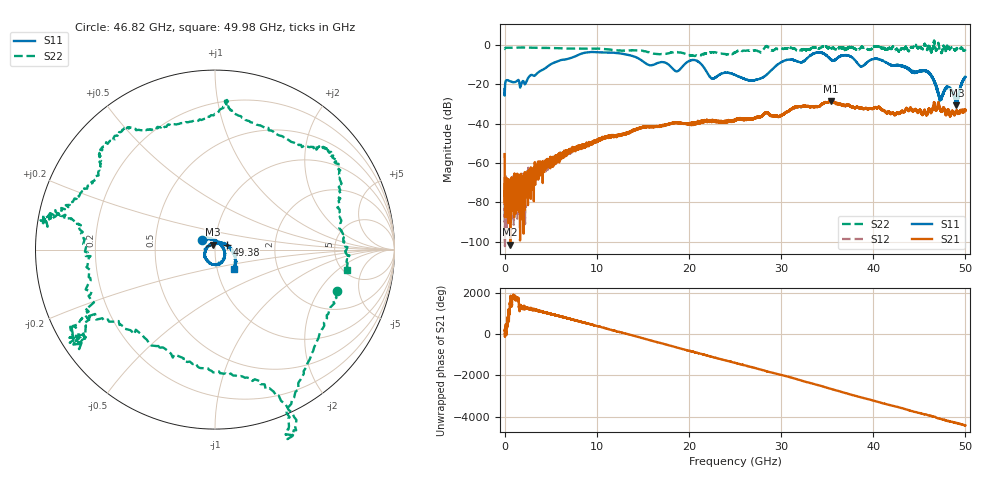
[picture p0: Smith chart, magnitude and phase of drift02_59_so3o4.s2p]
!Created with skrf (http://scikit-rf.org).
# Hz S RI R 50.0
!freq ReS11 ImS11 ReS21 ImS21 ReS12 ImS12 ReS22 ImS22
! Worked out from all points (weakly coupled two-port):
!   10001 points, 300 kHz to 50 GHz, reference 50 ohm
!   highest |S21| = -28.49 dB at 35.38 GHz (marker M1); lowest = -101.5 dB at 615.3 MHz (marker M2)
!   lowest |S11| = -30.7 dB at 49.02 GHz (marker M3), VSWR 1.06, Z = 48.7 + j2.6 ohm
!   |S11| at or under -10 dB: start of sweep to 4.957 GHz; 21.38 GHz to 29.63 GHz (8.248 GHz wide, 32.3 % of centre); 41.83 GHz to end of sweep (the widest 3 of 8)
!   |S22| runs from -5.7 to 2.2 dB; largest |S21 - S12| = 0.0035
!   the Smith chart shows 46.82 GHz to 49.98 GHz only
!   S11 on the Smith chart (normalised r, x): 46.82 GHz: 0.86, +0.09; 49.38 GHz: 1.14, +0.06; 49.98 GHz: 1.20, -0.26
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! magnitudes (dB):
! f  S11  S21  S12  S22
! 300 kHz  -22.4  -55.5  -66.9  -2.1
! 255.3 MHz  -17.9  -87.2  -72.6  -1.4
! 615.3 MHz  -18.5  -101.5  -82.8  -1.5
! 1.875 GHz  -19.0  -77.5  -73.5  -1.3
! 8.335 GHz  -4.5  -51.3  -51.1  -1.9
! 16.67 GHz  -9.1  -41.6  -41.4  -4.7
! 18.7 GHz  -13.5  -39.7  -39.4  -3.7
! 20.6 GHz  -7.7  -39.7  -39.8  -5.7
! 22.51 GHz  -17.1  -38.7  -38.8  -3.7
! 25 GHz  -15.2  -38.4  -38.3  -3.8
! 27.45 GHz  -17.6  -36.9  -36.6  -3.1
! 33.34 GHz  -4.9  -31.3  -31.2  -1.6
! 35.38 GHz  -7.4  -28.5  -28.6  -1.4
! 41.67 GHz  -9.6  -34.0  -34.3  -1.9
! 45.83 GHz  -13.2  -35.3  -35.1  -2.4
! 46.82 GHz  -21.0  -32.8  -33.1  -2.9
! 47.28 GHz  -27.1  -33.1  -33.2  -3.4
! 48.11 GHz  -21.5  -33.1  -33.4  -0.5
! 49.02 GHz  -30.7  -33.8  -33.4  -2.0
! 49.38 GHz  -23.2  -33.6  -34.3  -2.5
! 49.98 GHz  -16.5  -32.8  -32.6  -2.6
! 50 GHz  -16.3  -33.4  -32.6  -2.6
